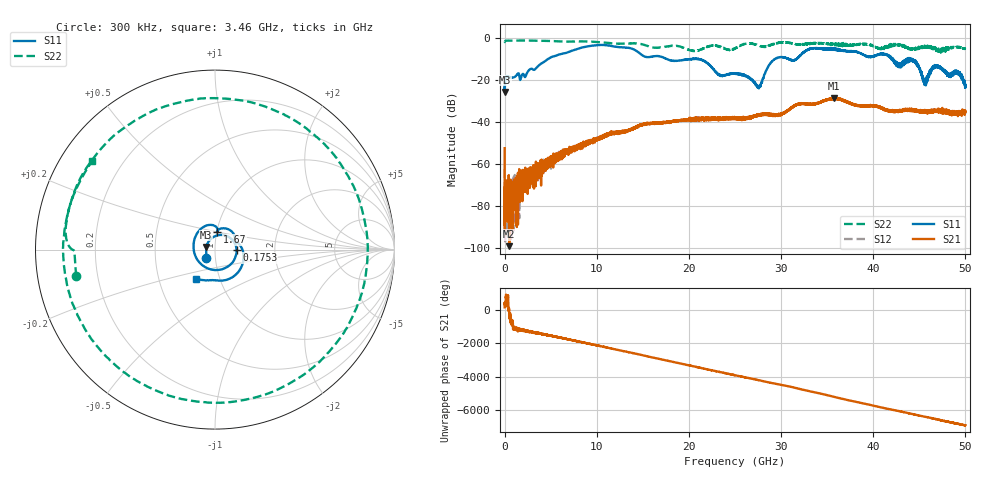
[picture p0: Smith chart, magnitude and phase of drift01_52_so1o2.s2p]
!Created with skrf (http://scikit-rf.org).
# Hz S RI R 50.0
!freq ReS11 ImS11 ReS21 ImS21 ReS12 ImS12 ReS22 ImS22
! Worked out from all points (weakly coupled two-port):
!   10001 points, 300 kHz to 50 GHz, reference 50 ohm
!   highest |S21| = -28.73 dB at 35.74 GHz (marker M1); lowest = -99.1 dB at 505.3 MHz (marker M2)
!   lowest |S11| = -25.9 dB at 5.3 MHz (marker M3), VSWR 1.11, Z = 45.3 + j1.38 ohm
!   |S11| at or under -10 dB: start of sweep to 4.768 GHz; 20.72 GHz to 29.4 GHz (8.686 GHz wide, 34.7 % of centre); 44.05 GHz to end of sweep (the widest 3 of 16)
!   |S22| runs from -7.2 to -1.4 dB; largest |S21 - S12| = 0.0042
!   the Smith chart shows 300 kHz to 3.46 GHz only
!   S11 on the Smith chart (normalised r, x): 300 kHz: 0.90, -0.09; 175.3 MHz: 1.27, -0.01; 1.67 GHz: 1.01, +0.20; 3.46 GHz: 0.77, -0.26
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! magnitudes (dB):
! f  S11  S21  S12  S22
! 300 kHz  -23.2  -52.6  -62.6  -2.1
! 5.3 MHz  -25.9  -73.2  -84.7  -2.1
! 175.3 MHz  -18.4  -72.2  -78.1  -1.5
! 505.3 MHz  -18.6  -99.1  -73.6  -1.5
! 1.67 GHz  -20.0  -68.3  -68.3  -1.4
! 3.46 GHz  -14.3  -61.5  -62.3  -1.5
! 8.335 GHz  -4.8  -51.4  -51.2  -1.8
! 16.67 GHz  -8.8  -40.8  -40.8  -4.8
! 21.17 GHz  -10.3  -38.4  -38.4  -5.9
! 25 GHz  -17.2  -38.1  -38.4  -5.1
! 27.57 GHz  -23.9  -37.1  -36.6  -3.9
! 29.27 GHz  -10.4  -36.7  -36.9  -2.9
! 31.45 GHz  -10.8  -32.3  -32.5  -3.0
! 33.34 GHz  -5.1  -31.5  -31.6  -2.7
! 35.74 GHz  -5.1  -28.7  -29.0  -2.7
! 41.67 GHz  -9.0  -34.7  -34.9  -4.5
! 42.74 GHz  -12.6  -35.0  -34.9  -3.1
! 44.42 GHz  -11.4  -34.7  -34.9  -5.1
! 45.63 GHz  -20.0  -34.7  -35.4  -4.2
! 46.88 GHz  -13.7  -34.7  -34.9  -5.3
! 49.21 GHz  -15.9  -36.1  -35.3  -4.4
! 50 GHz  -22.6  -35.3  -35.2  -5.4
